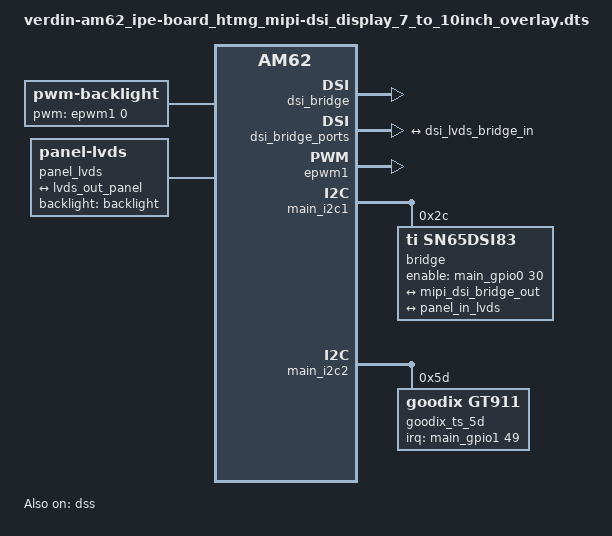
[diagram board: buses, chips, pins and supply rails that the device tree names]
// SPDX-License-Identifier: MIT
/*
 * Verdin AM62 overlay - MIPI-DSI Displays from HTMG
 * Display Models GBExxxWSH02CE: 
 *   - TDO GBE070WSH02CE 7" 1024x600 MIPI-DSI
 *   - TDO GBE101WSH02CE 10.1" 1024x600 MIPI-DSI
 *
 * Touchscreen capacitive: Goodix GT911
 * 
 * Carrier Board: Ipê Carrier Board
 * Kernel 6.6 (TorizonOS 7.x)
 * 
 * AM62 Display Architecture:
 *   SoC DPI → TC9594XBG (on-module) → DSI → Panel
 * 
 * I2C Bus Assignment (IPE Carrier Board):
 *   - SN65DSI83 bridge: main_i2c1 (Verdin I2C_1)
 *   - GT911 touchscreen: main_i2c2 (Verdin I2C_2_DSI)
 * 
 * GPIO Mapping:
 *   - SODIMM 21 (DSI_1_BKL_EN) = main_gpio0 30 → Bridge Enable
 *   - SODIMM 17 (DSI_1_INT#) = main_gpio1 49 → Touch INT
 *   - SODIMM 19 (PWM_3_DSI) = epwm1 → Backlight PWM
 * 
 * Witte Technology LTDA - https://wittetech.com/
 */

/dts-v1/;
/plugin/;

#include <dt-bindings/gpio/gpio.h>
#include <dt-bindings/interrupt-controller/irq.h>
#include <dt-bindings/pwm/pwm.h>

/ {
	compatible = "toradex,verdin-am62";
};

/* Panel LVDS and backlight definition */
&{/} {
	backlight: backlight {
		compatible = "pwm-backlight";
		brightness-levels = <0 4 8 14 22 32 45 60 78 100 125 153 185 220 255>;
		default-brightness-level = <14>;
		/* Verdin PWM_3_DSI (SODIMM 19) */
		pwms = <&epwm1 0 6666667 0>;
		status = "okay";
	};

	panel_lvds: panel-lvds {
		compatible = "panel-lvds";
		backlight = <&backlight>;
		data-mapping = "vesa-24";
		height-mm = <85>;
		width-mm = <154>;
		status = "okay";

		panel-timing {
			clock-frequency = <47250000>;
			de-active = <1>;
			hactive = <1024>;
			hback-porch = <64>;
			hfront-porch = <72>;
			hsync-active = <0>;
			hsync-len = <32>;
			pixelclk-active = <1>;
			vactive = <600>;
			vback-porch = <15>;
			vfront-porch = <15>;
			vsync-active = <0>;
			vsync-len = <8>;
		};

		port {
			panel_in_lvds: endpoint {
				remote-endpoint = <&lvds_out_panel>;
			};
		};
	};
};

/* DSI Bridge - TC9594XBG on-module */
&dsi_bridge {
	status = "okay";
};

/* DSI Bridge output ports */
&dsi_bridge_ports {
	#address-cells = <1>;
	#size-cells = <0>;

	port@1 {
		reg = <1>;

		mipi_dsi_bridge_out: endpoint {
			remote-endpoint = <&dsi_lvds_bridge_in>;
		};
	};
};

/* Display SubSystem */
&dss {
	status = "okay";
};

/* Verdin PWM_3_DSI */
&epwm1 {
	status = "okay";
};

/* Verdin I2C_1 - SN65DSI83 bridge */
&main_i2c1 {
	#address-cells = <1>;
	#size-cells = <0>;
	status = "okay";

	/* TI SN65DSI83 MIPI-DSI to LVDS bridge */
	bridge@2c {
		compatible = "ti,sn65dsi83";
		reg = <0x2c>;
		pinctrl-names = "default";
		pinctrl-0 = <&pinctrl_dsi1_bkl_en>;
		/* Verdin DSI_1_BKL_EN (SODIMM 21) - Bridge Enable */
		enable-gpios = <&main_gpio0 30 GPIO_ACTIVE_HIGH>;

		ports {
			#address-cells = <1>;
			#size-cells = <0>;

			/* DSI input from on-module bridge */
			port@0 {
				reg = <0>;

				dsi_lvds_bridge_in: endpoint {
					data-lanes = <1 2 3 4>;
					remote-endpoint = <&mipi_dsi_bridge_out>;
				};
			};

			/* LVDS output to panel */
			port@2 {
				reg = <2>;

				lvds_out_panel: endpoint {
					remote-endpoint = <&panel_in_lvds>;
				};
			};
		};
	};
};

/* Verdin I2C_2_DSI - Touchscreen */
&main_i2c2 {
	#address-cells = <1>;
	#size-cells = <0>;
	status = "okay";

	/* Goodix GT911 touchscreen at 0x14 address */
	goodix_ts_14: gt911@14 {
		compatible = "goodix,gt911";
		reg = <0x14>;
		pinctrl-names = "default";
		pinctrl-0 = <&pinctrl_dsi1_int>;
		/* Verdin DSI_1_INT# (SODIMM 17) */
		interrupt-parent = <&main_gpio1>;
		interrupts = <49 IRQ_TYPE_EDGE_FALLING>;
		status = "disabled";
	};

	/* Goodix GT911 touchscreen at 0x5D address */
	goodix_ts_5d: gt911@5d {
		compatible = "goodix,gt911";
		reg = <0x5d>;
		pinctrl-names = "default";
		pinctrl-0 = <&pinctrl_dsi1_int>;
		/* Verdin DSI_1_INT# (SODIMM 17) */
		interrupt-parent = <&main_gpio1>;
		interrupts = <49 IRQ_TYPE_EDGE_FALLING>;
		status = "okay";
	};
};
